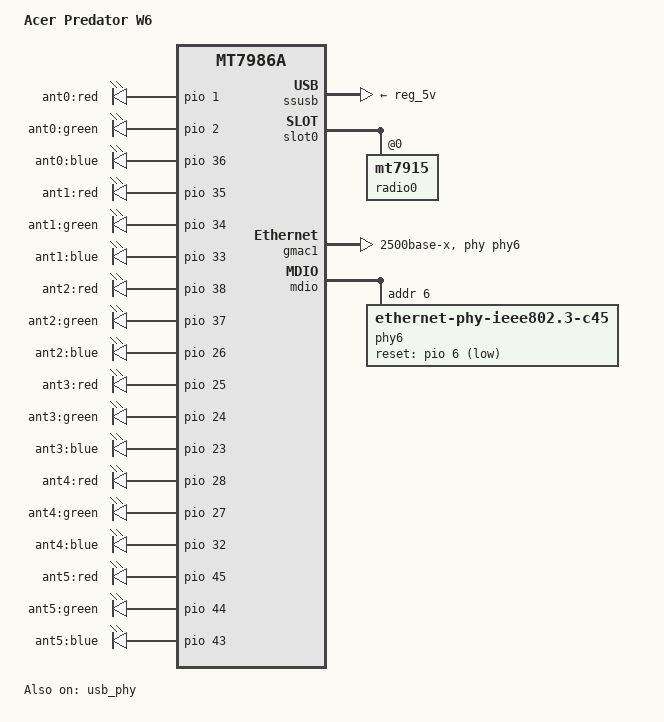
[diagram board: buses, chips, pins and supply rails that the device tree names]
// SPDX-License-Identifier: GPL-2.0-or-later OR MIT

/dts-v1/;
#include "mt7986a-acer-w6-common.dtsi"

/ {
	model = "Acer Predator W6";
	compatible = "acer,predator-w6", "mediatek,mt7986a";

	aliases {
		serial0 = &uart0;
		led-boot = &led_status;
		led-failsafe = &led_status;
		led-running = &led_status;
		led-upgrade = &led_status;
	};

	leds {
		compatible = "gpio-leds";

		led_status: led-0 {
			label = "ant0:red";
			gpios = <&pio 1 GPIO_ACTIVE_HIGH>;
		};

		led-1 {
			label = "ant0:green";
			gpios = <&pio 2 GPIO_ACTIVE_HIGH>;
		};

		led-2 {
			label = "ant0:blue";
			gpios = <&pio 36 GPIO_ACTIVE_HIGH>;
		};

		led-3 {
			label = "ant1:red";
			gpios = <&pio 35 GPIO_ACTIVE_HIGH>;
		};

		led-4 {
			label = "ant1:green";
			gpios = <&pio 34 GPIO_ACTIVE_HIGH>;
		};

		led-5 {
			label = "ant1:blue";
			gpios = <&pio 33 GPIO_ACTIVE_HIGH>;
		};

		led-6 {
			label = "ant2:red";
			gpios = <&pio 38 GPIO_ACTIVE_HIGH>;
		};

		led-7 {
			label = "ant2:green";
			gpios = <&pio 37 GPIO_ACTIVE_HIGH>;
		};

		led-8 {
			label = "ant2:blue";
			gpios = <&pio 26 GPIO_ACTIVE_HIGH>;
		};

		led-9 {
			label = "ant3:red";
			gpios = <&pio 25 GPIO_ACTIVE_HIGH>;
		};

		led-10 {
			label = "ant3:green";
			gpios = <&pio 24 GPIO_ACTIVE_HIGH>;
		};

		led-11 {
			label = "ant3:blue";
			gpios = <&pio 23 GPIO_ACTIVE_HIGH>;
		};

		led-12 {
			label = "ant4:red";
			gpios = <&pio 28 GPIO_ACTIVE_HIGH>;
		};

		led-13 {
			label = "ant4:green";
			gpios = <&pio 27 GPIO_ACTIVE_HIGH>;
		};

		led-14 {
			label = "ant4:blue";
			gpios = <&pio 32 GPIO_ACTIVE_HIGH>;
		};

		led-15 {
			label = "ant5:red";
			gpios = <&pio 45 GPIO_ACTIVE_HIGH>;
		};

		led-16 {
			label = "ant5:green";
			gpios = <&pio 44 GPIO_ACTIVE_HIGH>;
		};

		led-17 {
			label = "ant5:blue";
			gpios = <&pio 43 GPIO_ACTIVE_HIGH>;
		};
	};
};

&ssusb {
	vusb33-supply = <&reg_3p3v>;
	vbus-supply = <&reg_5v>;
	status = "okay";
};

&nvmem {
	eeprom_factory_a0000: eeprom@a0000 {
		reg = <0xa0000 0x1000>;
	};
};

&slot0 {
	radio0: mt7915@0,0 {
		reg = <0x0000 0 0 0 0>;
		nvmem-cells = <&eeprom_factory_a0000>;
		nvmem-cell-names = "eeprom";
	};
};

&usb_phy {
	status = "okay";
};

&eth {
	gmac1: mac@1 {
		compatible = "mediatek,eth-mac";
		reg = <1>;
		phy-mode = "2500base-x";
		phy-handle = <&phy6>;
	};
};

&mdio {
	phy6: phy@6 {
		compatible = "ethernet-phy-ieee802.3-c45";
		reg = <6>;
		reset-gpios = <&pio 6 GPIO_ACTIVE_LOW>;
		reset-assert-us = <10000>;
		reset-deassert-us = <10000>;
		/* LED0: nc ; LED1: nc ; LED2: amber ; LED3: green */
		mxl,led-config = <0x0 0x0 0x370 0x80>;
	};
};

&swport0 {
	label = "game";
};
